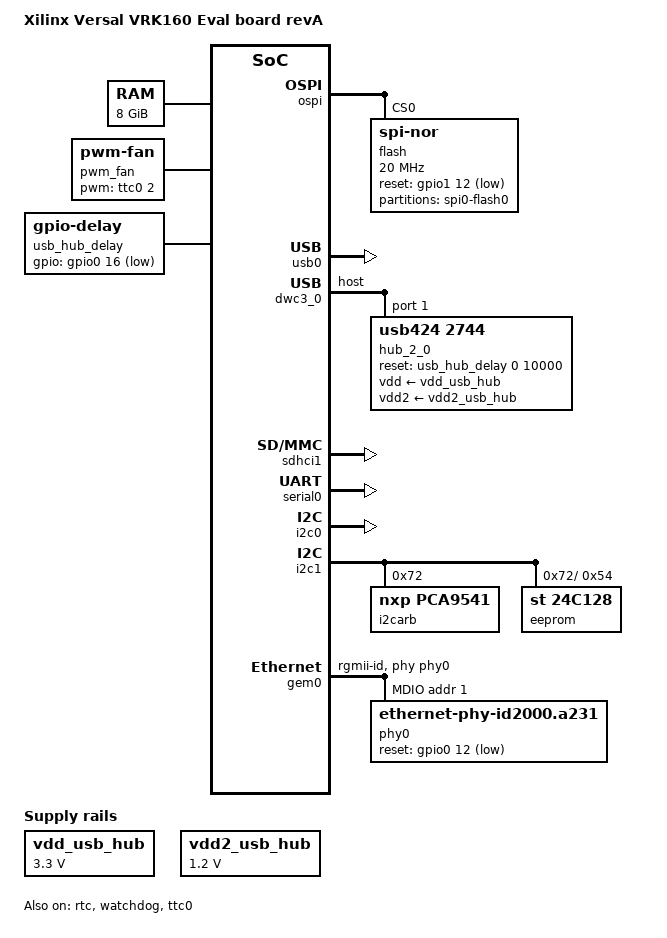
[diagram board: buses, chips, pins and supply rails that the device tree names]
// SPDX-License-Identifier: GPL-2.0
/*
 * dts file for Xilinx Versal VRK160 revA
 *
 * (C) Copyright 2025-2026, Advanced Micro Devices, Inc.
 *
 * Michal Simek <michal.simek@amd.com>
 */

#include <dt-bindings/net/ti-dp83867.h>
#include <dt-bindings/gpio/gpio.h>
#include "versal.dtsi"
#include "versal-clk.dtsi"

/ {
	compatible = "xlnx,versal-vrk160-revA", "xlnx,versal-vrk160",
		     "xlnx,versal";
	model = "Xilinx Versal VRK160 Eval board revA";

	memory: memory@0 {
		device_type = "memory";
		reg = <0 0 0 0x80000000>, <0x8 0x00000000 0x1 0x80000000>; /* 2GB + 6GB */
	};

	chosen {
		bootargs = "console=ttyAMA0 earlycon=pl011,mmio32,0xFF000000,115200n8";
		stdout-path = "serial0:115200";
	};

	reserved-memory {
		#address-cells = <2>;
		#size-cells = <2>;
		ranges;

		cma: linux,cma {
			compatible = "shared-dma-pool";
			reusable;
			size = <0x0 0x10000000>;
			alignment = <0x0 0x10000000>;
			alloc-ranges = <0x0 0x0 0x0 0x80000000>;
			linux,cma-default;
		};
	};

	aliases {
		serial0 = &serial0;
		serial2 = &dcc;
		i2c0 = &i2c0;
		i2c1 = &i2c1;
		mmc0 = &sdhci1;
		spi0 = &ospi;
		usb0 = &usb0;
		rtc0 = &rtc;
		nvmem0 = &eeprom;
	};

	pwm_fan: pwm-fan {
		compatible = "pwm-fan";
		status = "okay";
		pwms = <&ttc0 2 40000 1>; /* not sure about polarity here */
	};

	usb_hub_delay: enable-delay {
		compatible = "gpio-delay";
		#gpio-cells = <3>;
		gpio-controller;
		gpios = <&gpio0 16 GPIO_ACTIVE_LOW>;
	};

	vdd_usb_hub: regulator-vdd-usb-hub {
		compatible = "regulator-fixed";
		regulator-name = "vdd_usb_hub";
		regulator-min-microvolt = <3300000>;
		regulator-max-microvolt = <3300000>;
		regulator-always-on;
		regulator-boot-on;
	};

	vdd2_usb_hub: regulator-vdd2-usb-hub {
		compatible = "regulator-fixed";
		regulator-name = "vdd2_usb_hub";
		regulator-min-microvolt = <1200000>;
		regulator-max-microvolt = <1200000>;
		regulator-always-on;
		regulator-boot-on;
	};
};

/* SD_BUSPWR - PMC MIO51 */
/* SYSTEM_PD - PMC MIO50 */
/* PL_PD - PMC MIO49 */
/* AIE_PD - PMC MIO48 */
/* FPD_PD - PMC MIO11 */
/* I2C SYSMON - LPD MIO18 - 20 */

&ospi { /* PMC MIO0-10, 12, u82 MT35XU02G */
	status = "okay";
	bus-num = <2>;
	num-cs = <1>;
	#stream-id-cells = <1>;
	#address-cells = <1>;
	#size-cells = <0>;

	flash@0 {
		compatible = "jedec,spi-nor";
		reg = <0>;
		#address-cells = <1>;
		#size-cells = <1>;
		cdns,read-delay = <0>;
		cdns,tshsl-ns = <0>;
		cdns,tsd2d-ns = <0>;
		cdns,tchsh-ns = <1>;
		cdns,tslch-ns = <1>;
		spi-tx-bus-width = <8>;
		spi-rx-bus-width = <8>;
		spi-max-frequency = <20000000>;
		no-wp;
		reset-gpios = <&gpio1 12 GPIO_ACTIVE_LOW>;
		partitions {
			compatible = "fixed-partitions";
			#address-cells = <1>;
			#size-cells = <1>;

			partition@0 {
				label = "spi0-flash0";
				reg = <0 0x10000000>;
			};
		};
	};
};

&usb0 { /* PMC_MIO13_500 - PMC_MIO25 USB 2.0 */
	status = "okay";
};

&dwc3_0 { /* USB 2.0 host */
	status = "okay";
	dr_mode = "host";
	maximum-speed = "high-speed";
	snps,dis_u2_susphy_quirk;
	snps,dis_u3_susphy_quirk;
	snps,usb3_lpm_capable;
	#address-cells = <1>;
	#size-cells = <0>;

	/* 2.0 hub on port 1 */
	hub_2_0: hub@1 {
		compatible = "usb424,2744";
		reg = <1>;
		reset-gpios = <&usb_hub_delay 0 10000 10000>;
		vdd-supply = <&vdd_usb_hub>;
		vdd2-supply = <&vdd2_usb_hub>;
	};
};

&sdhci1 { /* PMC_MIO26-36/51 */
	status = "okay";
	xlnx,mio-bank = <1>;
	no-1-8-v;
};

&serial0 { /* PMC_MIO38/39 - BOARD_I2C0 */
	status = "okay";
};

&i2c0 { /* PMC_MIO42/43 */
	status = "okay";
};

&i2c1 { /* PMC_MIO44/45 */
	status = "okay";
	bootph-all;

	i2carb: i2c-arbitrator@72 { /* u18 */
		compatible = "nxp,pca9541";
		reg = <0x72>;

		i2carb1: i2c-arb {
			#address-cells = <1>;
			#size-cells = <0>;

			/* Use for storing information about board */
			eeprom: eeprom@54 { /* u21 - m24128 16kB */
				compatible = "st,24c128", "atmel,24c128";
				reg = <0x54>; /* & 0x5c */
			};
		};
	};
};

&rtc {
	status = "okay";
};

&gpio0 {
	status = "okay";
};

&gpio1 {
	status = "okay";
};

&watchdog {
	status = "okay";
};

&ttc0 { /* LPD_MIO23 FAN_PWM */
	status = "okay";
	#pwm-cells = <3>;
};

&gem0 { /* PMC_MIO_48, LPD_MIO0-11/24/25 */
	status = "okay";
	phy-handle = <&phy0>;
	phy-mode = "rgmii-id";
	mdio: mdio {
		#address-cells = <1>;
		#size-cells = <0>;
		phy0: ethernet-phy@1 { /* u201 */
			#phy-cells = <1>;
			compatible = "ethernet-phy-id2000.a231";
			reg = <1>;
			ti,rx-internal-delay = <DP83867_RGMIIDCTL_3_00_NS>;
			ti,tx-internal-delay = <DP83867_RGMIIDCTL_2_75_NS>;
			ti,fifo-depth = <1>;
			ti,dp83867-rxctrl-strap-quirk;
			reset-assert-us = <100>;
			reset-deassert-us = <280>;
			reset-gpios = <&gpio0 12 GPIO_ACTIVE_LOW>;
		};
	};
};
